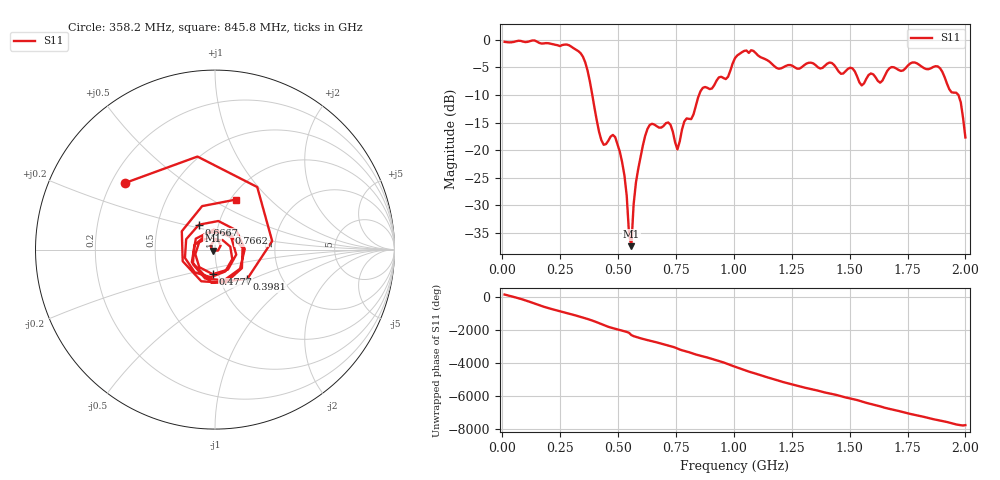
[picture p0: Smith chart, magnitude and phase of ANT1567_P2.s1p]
!Created with skrf (http://scikit-rf.org).
# Hz S RI R 50.0
!freq ReS11 ImS11
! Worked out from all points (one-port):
!   201 points, 10 MHz to 2 GHz, reference 50 ohm
!   lowest |S11| = -37.4 dB at 557.2 MHz (marker M1), VSWR 1.03, Z = 48.8 - j0.599 ohm
!   |S11| at or under -10 dB: 388.7 MHz to 849.7 MHz (460.9 MHz wide, 74.4 % of centre); 1.97 GHz to end of sweep
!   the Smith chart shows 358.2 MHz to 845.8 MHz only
!   S11 on the Smith chart (normalised r, x): 358.2 MHz: 0.25, +0.31; 398.1 MHz: 1.35, -0.47; 477.6 MHz: 0.94, -0.26; 666.7 MHz: 0.81, +0.23; 766.2 MHz: 1.14, +0.21; 845.8 MHz: 1.06, +0.65
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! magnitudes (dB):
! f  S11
! 10 MHz  -0.4
! 258.8 MHz  -0.9
! 358.2 MHz  -4.1
! 398.1 MHz  -12.3
! 437.9 MHz  -19.0
! 477.6 MHz  -17.2
! 507.5 MHz  -20.3
! 527.4 MHz  -24.6
! 547.3 MHz  -35.1
! 557.2 MHz  -37.4
! 577.1 MHz  -25.9
! 607 MHz  -19.2
! 636.9 MHz  -15.4
! 666.7 MHz  -15.6
! 726.4 MHz  -15.4
! 756.2 MHz  -19.9
! 766.2 MHz  -18.4
! 845.8 MHz  -10.4
! 975.1 MHz  -6.7
! 1.005 GHz  -3.3
! 1.075 GHz  -1.9
! 1.254 GHz  -4.7
! 1.502 GHz  -5.0
! 1.552 GHz  -8.3
! 1.751 GHz  -4.7
! 1.891 GHz  -5.1
! 1.97 GHz  -10.0
! 2 GHz  -17.7
